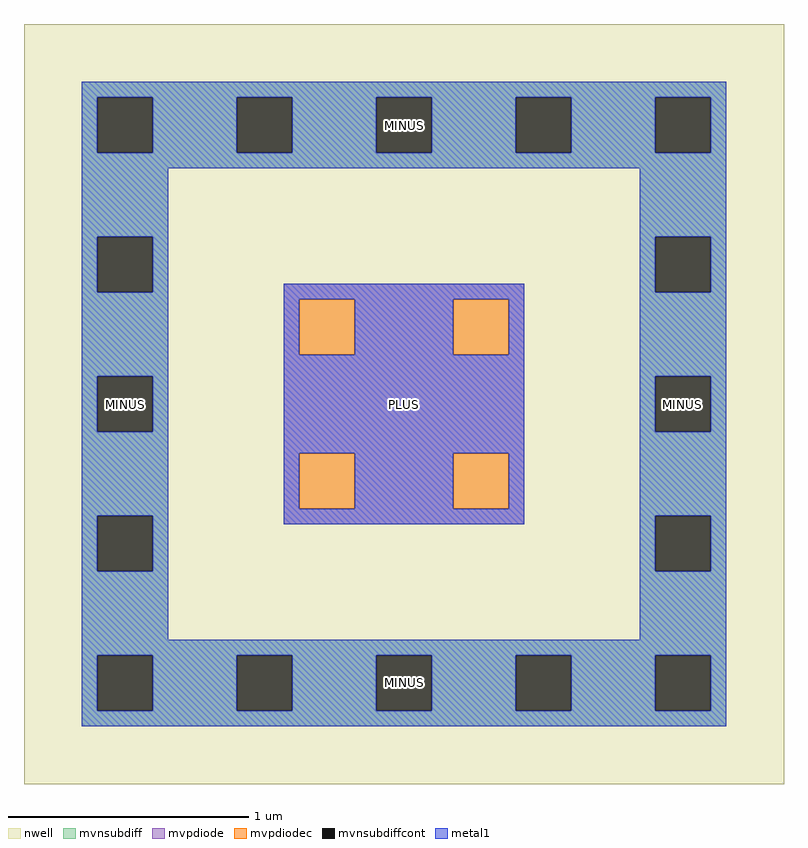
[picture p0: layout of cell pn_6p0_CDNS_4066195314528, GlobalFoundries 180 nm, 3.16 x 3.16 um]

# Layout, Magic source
magic
tech gf180mcuD
magscale 1 10
<< nwell >>
rect -216 -216 416 416
<< mvnsubdiff >>
rect -168 355 368 368
rect -168 309 -155 355
rect -109 309 -39 355
rect 7 309 77 355
rect 123 309 193 355
rect 239 309 309 355
rect 355 309 368 355
rect -168 296 368 309
rect -168 239 -96 296
rect -168 193 -155 239
rect -109 193 -96 239
rect 296 239 368 296
rect -168 123 -96 193
rect -168 77 -155 123
rect -109 77 -96 123
rect -168 7 -96 77
rect -168 -39 -155 7
rect -109 -39 -96 7
rect 296 193 309 239
rect 355 193 368 239
rect 296 123 368 193
rect 296 77 309 123
rect 355 77 368 123
rect 296 7 368 77
rect -168 -96 -96 -39
rect 296 -39 309 7
rect 355 -39 368 7
rect 296 -96 368 -39
rect -168 -109 368 -96
rect -168 -155 -155 -109
rect -109 -155 -39 -109
rect 7 -155 77 -109
rect 123 -155 193 -109
rect 239 -155 309 -109
rect 355 -155 368 -109
rect -168 -168 368 -155
<< mvnsubdiffcont >>
rect -155 309 -109 355
rect -39 309 7 355
rect 77 309 123 355
rect 193 309 239 355
rect 309 309 355 355
rect -155 193 -109 239
rect -155 77 -109 123
rect -155 -39 -109 7
rect 309 193 355 239
rect 309 77 355 123
rect 309 -39 355 7
rect -155 -155 -109 -109
rect -39 -155 7 -109
rect 77 -155 123 -109
rect 193 -155 239 -109
rect 309 -155 355 -109
<< mvpdiode >>
rect 0 187 200 200
rect 0 141 13 187
rect 59 141 141 187
rect 187 141 200 187
rect 0 59 200 141
rect 0 13 13 59
rect 59 13 141 59
rect 187 13 200 59
rect 0 0 200 13
<< mvpdiodec >>
rect 13 141 59 187
rect 141 141 187 187
rect 13 13 59 59
rect 141 13 187 59
<< metal1 >>
rect -168 355 368 368
rect -168 309 -155 355
rect -109 309 -39 355
rect 7 309 77 355
rect 123 309 193 355
rect 239 309 309 355
rect 355 309 368 355
rect -168 296 368 309
rect -168 239 -96 296
rect -168 193 -155 239
rect -109 193 -96 239
rect 296 239 368 296
rect -168 123 -96 193
rect -168 77 -155 123
rect -109 77 -96 123
rect -168 7 -96 77
rect -168 -39 -155 7
rect -109 -39 -96 7
rect 0 187 200 200
rect 0 141 13 187
rect 59 141 141 187
rect 187 141 200 187
rect 0 59 200 141
rect 0 13 13 59
rect 59 13 141 59
rect 187 13 200 59
rect 0 0 200 13
rect 296 193 309 239
rect 355 193 368 239
rect 296 123 368 193
rect 296 77 309 123
rect 355 77 368 123
rect 296 7 368 77
rect -168 -96 -96 -39
rect 296 -39 309 7
rect 355 -39 368 7
rect 296 -96 368 -39
rect -168 -109 368 -96
rect -168 -155 -155 -109
rect -109 -155 -39 -109
rect 7 -155 77 -109
rect 123 -155 193 -109
rect 239 -155 309 -109
rect 355 -155 368 -109
rect -168 -168 368 -155
<< labels >>
rlabel mvnsubdiffcont 100 -132 100 -132 4 MINUS
rlabel mvnsubdiffcont 100 332 100 332 4 MINUS
rlabel mvnsubdiffcont 332 100 332 100 4 MINUS
rlabel mvnsubdiffcont -132 100 -132 100 4 MINUS
rlabel metal1 100 100 100 100 4 PLUS
<< end >>
